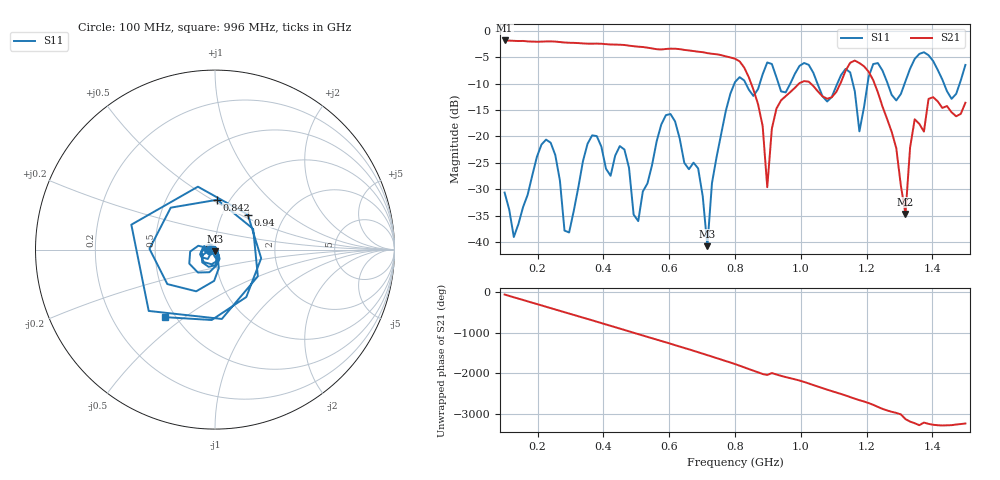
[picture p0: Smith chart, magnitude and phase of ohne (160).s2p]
! NanoVNA-App
! Date: 2025-09-25 14:22:02
! Start: 100MHz Stop: 1,5GHz Points: 101
! S-Parameter data: F S11 S21 S12 S22
# Hz S RI R 50
!  Frequency  S11_Real  S11_Imag  S21_Real  S21_Imag  S12_Real  S12_Imag  S22_Real  S22_Imag
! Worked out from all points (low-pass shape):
!   101 points, 100 MHz to 1.5 GHz, reference 50 ohm
!   highest |S21| = -1.79 dB at 100 MHz (marker M1); lowest = -34.7 dB at 1.318 GHz (marker M2)
!   |S21| within 3 dB of the highest: start of sweep to 771.1 MHz
!   lowest |S11| = -40.8 dB at 716 MHz (marker M3), VSWR 1.02, Z = 49.8 - j0.896 ohm
!   |S11| at or under -10 dB: start of sweep to 798 MHz; 833 MHz to 875.1 MHz (42.08 MHz wide, 4.93 % of centre); 1.051 GHz to 1.111 GHz (60.06 MHz wide, 5.56 % of centre) (the widest 3 of 7)
!   S12 and S22 are empty: the file has one direction only
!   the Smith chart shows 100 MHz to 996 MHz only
!   S11 on the Smith chart (normalised r, x): 100 MHz: 0.94, -0.01; 842 MHz: 0.88, +0.53; 940 MHz: 1.31, +0.55; 996 MHz: 0.44, -0.43
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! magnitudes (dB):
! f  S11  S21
! 100 MHz  -30.6  -1.8
! 128 MHz  -39.1  -1.9
! 226 MHz  -20.6  -2.0
! 296 MHz  -38.2  -2.2
! 338 MHz  -24.7  -2.4
! 464 MHz  -22.5  -2.7
! 506 MHz  -36.0  -3.0
! 576 MHz  -17.7  -3.5
! 688 MHz  -26.1  -3.9
! 716 MHz  -40.8  -4.2
! 800 MHz  -9.7  -5.3
! 842 MHz  -11.1  -8.8
! 898 MHz  -6.0  -29.6
! 940 MHz  -11.5  -13.1
! 996 MHz  -6.6  -9.9
! 1.038 GHz  -7.9  -10.4
! 1.178 GHz  -19.0  -6.1
! 1.22 GHz  -6.3  -9.3
! 1.276 GHz  -12.1  -19.1
! 1.318 GHz  -9.5  -34.7
! 1.346 GHz  -5.3  -16.7
! 1.5 GHz  -6.4  -13.6
